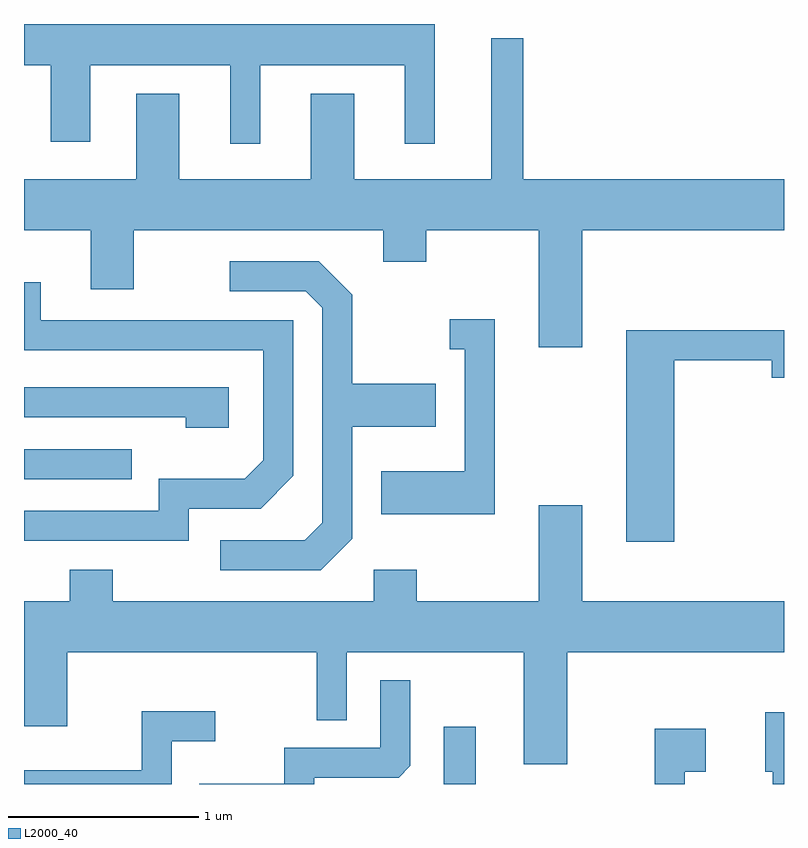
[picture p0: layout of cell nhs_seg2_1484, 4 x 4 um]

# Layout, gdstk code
import gdstk
lib = gdstk.Library(unit=1e-6, precision=1e-09)
def R(c, l, rs):  # rectangles x0, y0, x1, y1
    for r in rs: c.add(gdstk.rectangle(r[:2], r[2:], *l))
def P(c, l, *ps):  # polygons
    for p in ps: c.add(gdstk.Polygon(p, *l))
L2000_40 = (2000, 40)

nhs_seg2_1484 = lib.new_cell('nhs_seg2_1484')
R(nhs_seg2_1484, L2000_40, [(229.821,1089.802,229.989,1090.103), (227.611,1091.406,228.178,1091.564)])
P(nhs_seg2_1484, L2000_40, [(228.854,1093.586),(229.616,1093.586),(229.616,1093.173),(229.774,1093.173),(229.774,1093.802),(227.611,1093.802),(227.611,1093.586),(227.751,1093.586),(227.751,1093.181),(227.959,1093.181),(227.959,1093.586),(228.696,1093.586),(228.696,1093.173),(228.854,1093.173)],
  [(230.549,1092.716),(231.611,1092.716),(231.611,1092.984),(230.239,1092.984),(230.239,1093.728),(230.071,1093.728),(230.071,1092.984),(229.349,1092.984),(229.349,1093.434),(229.121,1093.434),(229.121,1092.984),(228.429,1092.984),(228.429,1093.434),(228.201,1093.434),(228.201,1092.984),(227.611,1092.984),(227.611,1092.716),(227.961,1092.716),(227.961,1092.406),(228.189,1092.406),(228.189,1092.716),(229.501,1092.716),(229.501,1092.551),(229.729,1092.551),(229.729,1092.716),(230.321,1092.716),(230.321,1092.101),(230.549,1092.101)],
  [(229.339,1091.094),(229.339,1091.681),(229.779,1091.681),(229.779,1091.909),(229.339,1091.909),(229.339,1092.377),(229.162,1092.554),(228.693,1092.554),(228.693,1092.396),(229.094,1092.396),(229.181,1092.309),(229.181,1091.177),(229.089,1091.084),(228.643,1091.084),(228.643,1090.926),(229.172,1090.926)],
  [(228.479,1091.251),(228.857,1091.251),(229.029,1091.424),(229.029,1092.244),(227.699,1092.244),(227.699,1092.443),(227.611,1092.443),(227.611,1092.086),(228.871,1092.086),(228.871,1091.507),(228.774,1091.409),(228.321,1091.409),(228.321,1091.239),(227.611,1091.239),(227.611,1091.081),(228.479,1091.081)],
  [(230.089,1092.249),(229.853,1092.249),(229.853,1092.091),(229.931,1092.091),(229.931,1091.449),(229.491,1091.449),(229.491,1091.221),(230.089,1091.221)],
  [(231.034,1092.031),(231.546,1092.031),(231.546,1091.941),(231.611,1091.941),(231.611,1092.189),(230.781,1092.189),(230.781,1091.076),(231.034,1091.076)],
  [(228.689,1091.889),(227.611,1091.889),(227.611,1091.731),(228.461,1091.731),(228.461,1091.676),(228.689,1091.676)],
  [(230.469,1090.496),(231.611,1090.496),(231.611,1090.764),(230.549,1090.764),(230.549,1091.269),(230.321,1091.269),(230.321,1090.764),(229.679,1090.764),(229.679,1090.929),(229.451,1090.929),(229.451,1090.764),(228.079,1090.764),(228.079,1090.929),(227.851,1090.929),(227.851,1090.764),(227.611,1090.764),(227.611,1090.106),(227.839,1090.106),(227.839,1090.496),(229.151,1090.496),(229.151,1090.138),(229.309,1090.138),(229.309,1090.496),(230.241,1090.496),(230.241,1089.906),(230.469,1089.906)],
  [(229.139,1089.836),(229.584,1089.836),(229.644,1089.897),(229.644,1090.348),(229.486,1090.348),(229.486,1089.994),(228.981,1089.994),(228.981,1089.804),(228.533,1089.804),(228.533,1089.802),(229.139,1089.802)],
  [(228.389,1090.026),(228.618,1090.026),(228.618,1090.184),(228.231,1090.184),(228.231,1089.874),(227.611,1089.874),(227.611,1089.802),(228.389,1089.802)],
  [(231.611,1090.179),(231.511,1090.179),(231.511,1089.866),(231.551,1089.866),(231.551,1089.802),(231.611,1089.802)],
  [(231.089,1089.866),(231.199,1089.866),(231.199,1090.094),(230.931,1090.094),(230.931,1089.802),(231.089,1089.802)])

lib.write_gds('nhs_seg2_1484.gds')
